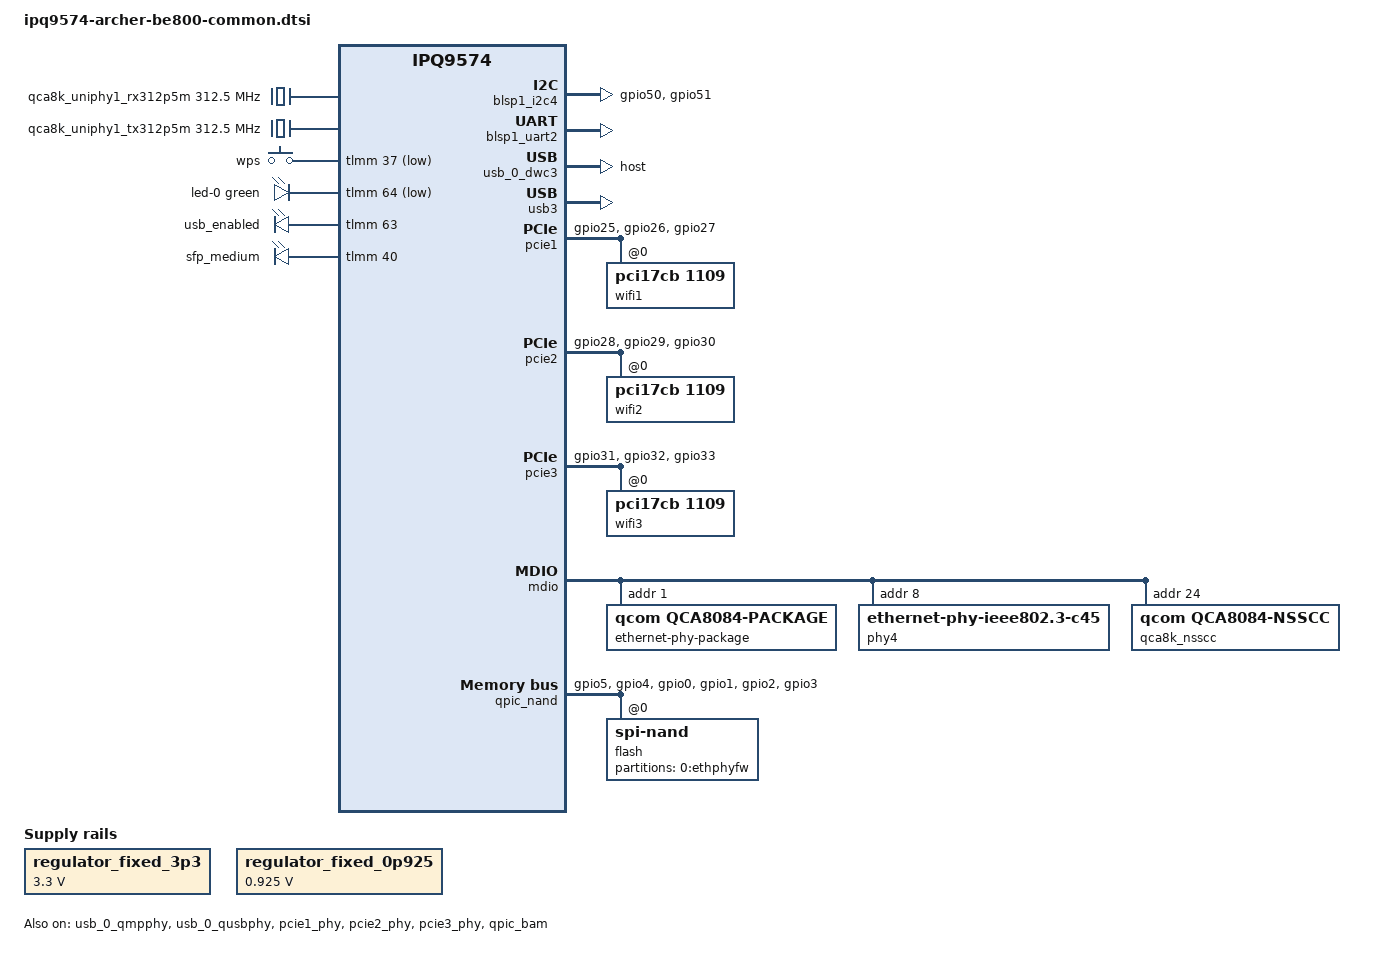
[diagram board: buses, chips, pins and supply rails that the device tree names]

// SPDX-License-Identifier: (GPL-2.0+ OR BSD-3-Clause)
/*
 * IPQ9574 RDP board common device tree source
 *
 * Copyright (c) 2020-2021 The Linux Foundation. All rights reserved.
 * Copyright (c) 2023-2024, Qualcomm Innovation Center, Inc. All rights reserved.
 */

/dts-v1/;

#include <dt-bindings/gpio/gpio.h>
#include <dt-bindings/input/input.h>
#include <dt-bindings/leds/common.h>
#include "ipq9574.dtsi"

#include <dt-bindings/clock/qcom,qca8k-nsscc.h>
#include <dt-bindings/net/qcom,qca808x.h>
#include <dt-bindings/reset/qcom,qca8k-nsscc.h>

/ {
	aliases {
		serial0 = &blsp1_uart2;
	};

	chosen {
		stdout-path = "serial0:115200n8";
		bootargs-append = " root=ubiblock0_1";
	};

	reserved-memory {
		tzapp:tzapp@49B00000 {  /* TZAPPS */
			no-map;
			reg = <0x0 0x49B00000 0x0 0x00600000>;
		};
	};

	clocks {
		qca8k_uniphy1_rx312p5m: qca8k-uniphy1-rx312p5m {
			compatible = "fixed-clock";
			clock-frequency = <312500000>;
			#clock-cells = <0>;
		};

		qca8k_uniphy1_tx312p5m: qca8k-uniphy1-tx312p5m {
			compatible = "fixed-clock";
			clock-frequency = <312500000>;
			#clock-cells = <0>;
		};
	};

	regulator_fixed_3p3: s3300 {
		compatible = "regulator-fixed";
		regulator-min-microvolt = <3300000>;
		regulator-max-microvolt = <3300000>;
		regulator-boot-on;
		regulator-always-on;
		regulator-name = "fixed_3p3";
	};

	regulator_fixed_0p925: s0925 {
		compatible = "regulator-fixed";
		regulator-min-microvolt = <925000>;
		regulator-max-microvolt = <925000>;
		regulator-boot-on;
		regulator-always-on;
		regulator-name = "fixed_0p925";
	};

	gpio-keys {
		compatible = "gpio-keys";
		pinctrl-0 = <&gpio_keys_default>;
		pinctrl-names = "default";

		button-wps {
			label = "wps";
			linux,code = <KEY_WPS_BUTTON>;
			gpios = <&tlmm 37 GPIO_ACTIVE_LOW>;
			debounce-interval = <60>;
		};
	};

	leds {
		compatible = "gpio-leds";
		pinctrl-0 = <&gpio_leds_default>;
		pinctrl-names = "default";

		led-0 {
			color = <LED_COLOR_ID_GREEN>;
			function = LED_FUNCTION_WLAN;
			gpios = <&tlmm 64 GPIO_ACTIVE_LOW>;
			linux,default-trigger = "phy0tx";
			default-state = "off";
		};

		usb_enabled {
			gpios = <&tlmm 63 GPIO_ACTIVE_HIGH>;
			default-state = "on";
		};

		sfp_medium: sfp_medium {
			gpios = <&tlmm 40 GPIO_ACTIVE_HIGH>;
			default-state = "on";
		};
	};

	sfp0: sfp-0 {
		status = "disabled";
		compatible = "sff,sfp";
		pinctrl-0 = <&sfp0_default>;
		pinctrl-names = "default";
		i2c-bus = <&blsp1_i2c4>;
		los-gpios = <&tlmm 46 GPIO_ACTIVE_HIGH>;
	};
};

&blsp1_i2c4 {
	pinctrl-0 = <&i2c4_default>;
	pinctrl-names = "default";
	status = "okay";
};

&blsp1_uart2 {
	pinctrl-0 = <&uart2_pins>;
	pinctrl-names = "default";
	status = "okay";
};

&rpm_requests {
	regulators {
		compatible = "qcom,rpm-mp5496-regulators";

		ipq9574_s1: s1 {
		/*
		 * During kernel bootup, the SoC runs at 800MHz with 875mV set by the bootloaders.
		 * During regulator registration, kernel not knowing the initial voltage,
		 * considers it as zero and brings up the regulators with minimum supported voltage.
		 * Update the regulator-min-microvolt with SVS voltage of 725mV so that
		 * the regulators are brought up with 725mV which is sufficient for all the
		 * corner parts to operate at 800MHz
		 */
			regulator-min-microvolt = <587500>;
			regulator-max-microvolt = <1075000>;
		};
		
		mp5496_l2: l2 {
			regulator-min-microvolt = <850000>;
			regulator-max-microvolt = <850000>;
			regulator-always-on;
			regulator-boot-on;
		};

		mp5496_l5: l5 {
			regulator-min-microvolt = <1800000>;
			regulator-max-microvolt = <1800000>;
			regulator-always-on;
			regulator-boot-on;
		};
	};
};

&sleep_clk {
	clock-frequency = <32000>;
};

&tlmm {
	spi_0_pins: spi-0-state {
		pins = "gpio11", "gpio12", "gpio13", "gpio14";
		function = "blsp0_spi";
		drive-strength = <8>;
		bias-disable;
	};

	gpio_keys_default: gpio-keys-default-state {
		pins = "gpio37";
		function = "gpio";
		drive-strength = <8>;
		bias-pull-up;
	};

	gpio_leds_default: gpio-leds-default-state {
		pins = "gpio64", "gpio63", "gpio40";
		function = "gpio";
		drive-strength = <8>;
		bias-pull-up;
	};

	qpic_snand_default_state: qpic-snand-default-state {
		clock-pins {
			pins = "gpio5";
			function = "qspi_clk";
			drive-strength = <8>;
			bias-disable;
		};

		cs-pins {
			pins = "gpio4";
			function = "qspi_cs";
			drive-strength = <8>;
			bias-disable;
		};

		data-pins {
			pins = "gpio0", "gpio1", "gpio2", "gpio3";
			function = "qspi_data";
			drive-strength = <8>;
			bias-disable;
		};
	};
	i2c4_default: i2c4-default-state {
		pins = "gpio50", "gpio51";
		function = "blsp4_i2c";
		drive-strength = <8>;
		bias-pull-up;
	};

	sfp0_default: sfp0-default-state {
		pins = "gpio46", "gpio45";
		function = "gpio";
		drive-strength = <8>;
		bias-pull-down;
	};
};

&usb_0_dwc3 {
	dr_mode = "host";
};

&usb_0_qmpphy {
	/*vdda-pll-supply = <&mp5496_l5>;*/
	vdda-phy-supply = <&regulator_fixed_0p925>;

	status = "okay";
};

&usb_0_qusbphy {
	vdd-supply = <&regulator_fixed_0p925>;
	/*vdda-pll-supply = <&mp5496_l5>;*/
	vdda-phy-dpdm-supply = <&regulator_fixed_3p3>;

	status = "okay";
};

&usb3 {
	status = "okay";
};

/*
 * The bootstrap pins for the board select the XO clock frequency
 * (48 MHZ or 96 MHZ used for different RDP type board). This setting
 * automatically enables the right dividers, to ensure the reference
 * clock output from WiFi to the CMN PLL is 48 MHZ.
 */
&ref_48mhz_clk {
	clock-div = <1>;
	clock-mult = <1>;
};

/*
 * The frequency of xo_board_clk is fixed to 24 MHZ, which is routed
 * from WiFi output clock 48 MHZ divided by 2.
 */
&xo_board_clk {
	clock-div = <2>;
	clock-mult = <1>;
};

&xo_clk {
	clock-frequency = <48000000>;
};

&pcie1_phy {
	status = "okay";
};

&pcie1 {
	pinctrl-0 = <&pcie1_default>;
	pinctrl-names = "default";

	perst-gpios = <&tlmm 26 GPIO_ACTIVE_LOW>;
	wake-gpios = <&tlmm 27 GPIO_ACTIVE_LOW>;
	status = "okay";

	pcie@0,0 { /* PCIe bridge/root */
        #address-cells = <3>;
        #size-cells    = <2>;
        reg = <0 0 0 0 0>;

        wifi1: pcie@0 {
            compatible = "pci17cb,1109";

            reg = <0 0 0 0 0>;

            qcom,board_id = <0x01>;
        };
    };
};

&pcie2_phy {
	status = "okay";
};

&pcie2 {
	pinctrl-0 = <&pcie2_default>;
	pinctrl-names = "default";

	perst-gpios = <&tlmm 29 GPIO_ACTIVE_LOW>;
	wake-gpios = <&tlmm 30 GPIO_ACTIVE_LOW>;
	status = "okay";

	pcie@0,0 { /* PCIe bridge/root */
        #address-cells = <3>;
        #size-cells    = <2>;
        reg = <0 0 0 0 0>;

        wifi2: pcie@0 {
            compatible = "pci17cb,1109";

            reg = <0 0 0 0 0>;

            qcom,board_id = <0x04>;
        };
    };
};

&pcie3_phy {
	status = "okay";
};

&pcie3 {
	pinctrl-0 = <&pcie3_default>;
	pinctrl-names = "default";

	perst-gpios = <&tlmm 32 GPIO_ACTIVE_LOW>;
	wake-gpios = <&tlmm 33 GPIO_ACTIVE_LOW>;
	status = "okay";

	pcie@0,0 { /* PCIe bridge/root */
        #address-cells = <3>;
        #size-cells    = <2>;
        reg = <0 0 0 0 0>;

        wifi3: pcie@0 {
            compatible = "pci17cb,1109";

            reg = <0 0 0 0 0>;

            qcom,board_id = <0x02>;
        };
    };
};

&mdio {
	phy-reset-gpio = <&tlmm 60 GPIO_ACTIVE_LOW>;
	clock-frequency = <6250000>;
	status = "okay";

	ethernet-phy-package@1 {
		#address-cells = <1>;
		#size-cells = <0>;
		compatible = "qcom,qca8084-package";
		reg = <1>;
		clocks = <&qca8k_nsscc NSS_CC_APB_BRIDGE_CLK>,
					<&qca8k_nsscc NSS_CC_AHB_CLK>,
					<&qca8k_nsscc NSS_CC_SEC_CTRL_AHB_CLK>,
					<&qca8k_nsscc NSS_CC_TLMM_CLK>,
					<&qca8k_nsscc NSS_CC_TLMM_AHB_CLK>,
					<&qca8k_nsscc NSS_CC_CNOC_AHB_CLK>,
					<&qca8k_nsscc NSS_CC_MDIO_AHB_CLK>;
		clock-names = "apb_bridge",
						"ahb",
						"sec_ctrl_ahb",
						"tlmm",
						"tlmm_ahb",
						"cnoc_ahb",
						"mdio_ahb";
		qcom,package-mode = <QCA808X_PCS1_10G_QXGMII_PCS0_UNUNSED>;
		resets = <&qca8k_nsscc NSS_CC_GEPHY_FULL_ARES>;
		qcom,phy-addr-fixup = <1 2 3 4 5 6 7>;

	    phy0: ethernet-phy@1 {
			compatible = "ethernet-phy-id004d.d180";
			reg = <1>;
			clocks = <&qca8k_nsscc NSS_CC_GEPHY0_SYS_CLK>;
			resets = <&qca8k_nsscc NSS_CC_GEPHY0_SYS_ARES>;
			qcom,xpcs-channel = <0>;
		};

	    phy1: ethernet-phy@2 {
			compatible = "ethernet-phy-id004d.d180";
			reg = <2>;
			clocks = <&qca8k_nsscc NSS_CC_GEPHY1_SYS_CLK>;
			resets = <&qca8k_nsscc NSS_CC_GEPHY1_SYS_ARES>;
			qcom,xpcs-channel = <1>;
		};

	    phy2: ethernet-phy@3 {
			compatible = "ethernet-phy-id004d.d180";
			reg = <3>;
			clocks = <&qca8k_nsscc NSS_CC_GEPHY2_SYS_CLK>;
			resets = <&qca8k_nsscc NSS_CC_GEPHY2_SYS_ARES>;
			qcom,xpcs-channel = <2>;
		};

	    phy3: ethernet-phy@4 {
			compatible = "ethernet-phy-id004d.d180";
			reg = <4>;
			clocks = <&qca8k_nsscc NSS_CC_GEPHY3_SYS_CLK>;
			resets = <&qca8k_nsscc NSS_CC_GEPHY3_SYS_ARES>;
			qcom,xpcs-channel = <3>;
		};

		pcs-phy@6 {
			compatible = "qcom,qca8k-pcs-phy";
			reg = <6>;
			clocks = <&qca8k_nsscc NSS_CC_SRDS1_SYS_CLK>,
						<&qca8k_uniphy1_tx312p5m>,
						<&qca8k_uniphy1_rx312p5m>;
			clock-names = "pcs", "pcs_rx_root", "pcs_tx_root";
			resets = <&qca8k_nsscc NSS_CC_SRDS1_SYS_ARES>;
		};

		xpcs-phy@7 {
			compatible = "qcom,qca8k-xpcs-phy";
			reg = <7>;
			#address-cells = <1>;
			#size-cells = <0>;
			resets = <&qca8k_nsscc NSS_CC_XPCS_ARES>;

			channel@0 {
				reg = <0>;
				clocks = <&qca8k_nsscc NSS_CC_MAC1_SRDS1_CH0_XGMII_TX_CLK>,
							<&qca8k_nsscc NSS_CC_MAC1_SRDS1_CH0_XGMII_RX_CLK>,
							<&qca8k_nsscc NSS_CC_MAC1_SRDS1_CH0_TX_CLK>,
							<&qca8k_nsscc NSS_CC_MAC1_SRDS1_CH0_RX_CLK>,
							<&qca8k_nsscc NSS_CC_MAC1_GEPHY0_RX_CLK>,
							<&qca8k_nsscc NSS_CC_MAC1_GEPHY0_TX_CLK>,
							<&qca8k_nsscc NSS_CC_MAC1_RX_CLK_SRC>,
							<&qca8k_nsscc NSS_CC_MAC1_TX_CLK_SRC>;
				clock-names = "xgmii_rx",
								"xgmii_tx",
								"xpcs_rx",
								"xpcs_tx",
								"port_rx",
								"port_tx",
								"rx_src",
								"tx_src";
				resets = <&qca8k_nsscc NSS_CC_MAC1_SRDS1_CH0_XGMII_TX_ARES>,
							<&qca8k_nsscc NSS_CC_MAC1_SRDS1_CH0_XGMII_RX_ARES>,
							<&qca8k_nsscc NSS_CC_MAC1_SRDS1_CH0_TX_ARES>,
							<&qca8k_nsscc NSS_CC_MAC1_SRDS1_CH0_RX_ARES>,
							<&qca8k_nsscc NSS_CC_MAC1_GEPHY0_RX_ARES>,
							<&qca8k_nsscc NSS_CC_MAC1_GEPHY0_TX_ARES>;
				reset-names = "xgmii_rx",
								"xgmii_tx",
								"xpcs_rx",
								"xpcs_tx",
								"port_rx",
								"port_tx";
			};

			channel@1 {
				reg = <1>;
				clocks = <&qca8k_nsscc NSS_CC_MAC2_SRDS1_CH1_XGMII_TX_CLK>,
							<&qca8k_nsscc NSS_CC_MAC2_SRDS1_CH1_XGMII_RX_CLK>,
							<&qca8k_nsscc NSS_CC_MAC2_SRDS1_CH1_TX_CLK>,
							<&qca8k_nsscc NSS_CC_MAC2_SRDS1_CH1_RX_CLK>,
							<&qca8k_nsscc NSS_CC_MAC2_GEPHY1_RX_CLK>,
							<&qca8k_nsscc NSS_CC_MAC2_GEPHY1_TX_CLK>,
							<&qca8k_nsscc NSS_CC_MAC2_RX_CLK_SRC>,
							<&qca8k_nsscc NSS_CC_MAC2_TX_CLK_SRC>;
				clock-names = "xgmii_rx",
								"xgmii_tx",
								"xpcs_rx",
								"xpcs_tx",
								"port_rx",
								"port_tx",
								"rx_src",
								"tx_src";
				resets = <&qca8k_nsscc NSS_CC_MAC2_SRDS1_CH1_XGMII_TX_ARES>,
							<&qca8k_nsscc NSS_CC_MAC2_SRDS1_CH1_XGMII_RX_ARES>,
							<&qca8k_nsscc NSS_CC_MAC2_SRDS1_CH1_TX_ARES>,
							<&qca8k_nsscc NSS_CC_MAC2_SRDS1_CH1_RX_ARES>,
							<&qca8k_nsscc NSS_CC_MAC2_GEPHY1_RX_ARES>,
							<&qca8k_nsscc NSS_CC_MAC2_GEPHY1_TX_ARES>;
				reset-names = "xgmii_rx",
								"xgmii_tx",
								"xpcs_rx",
								"xpcs_tx",
								"port_rx",
								"port_tx";
			};

			channel@2 {
				reg = <2>;
				clocks = <&qca8k_nsscc NSS_CC_MAC3_SRDS1_CH2_XGMII_TX_CLK>,
							<&qca8k_nsscc NSS_CC_MAC3_SRDS1_CH2_XGMII_RX_CLK>,
							<&qca8k_nsscc NSS_CC_MAC3_SRDS1_CH2_TX_CLK>,
							<&qca8k_nsscc NSS_CC_MAC3_SRDS1_CH2_RX_CLK>,
							<&qca8k_nsscc NSS_CC_MAC3_GEPHY2_RX_CLK>,
							<&qca8k_nsscc NSS_CC_MAC3_GEPHY2_TX_CLK>,
							<&qca8k_nsscc NSS_CC_MAC3_RX_CLK_SRC>,
							<&qca8k_nsscc NSS_CC_MAC3_TX_CLK_SRC>;
				clock-names = "xgmii_rx",
								"xgmii_tx",
								"xpcs_rx",
								"xpcs_tx",
								"port_rx",
								"port_tx",
								"rx_src",
								"tx_src";
				resets = <&qca8k_nsscc NSS_CC_MAC3_SRDS1_CH2_XGMII_TX_ARES>,
							<&qca8k_nsscc NSS_CC_MAC3_SRDS1_CH2_XGMII_RX_ARES>,
							<&qca8k_nsscc NSS_CC_MAC3_SRDS1_CH2_TX_ARES>,
							<&qca8k_nsscc NSS_CC_MAC3_SRDS1_CH2_RX_ARES>,
							<&qca8k_nsscc NSS_CC_MAC3_GEPHY2_RX_ARES>,
							<&qca8k_nsscc NSS_CC_MAC3_GEPHY2_TX_ARES>;
				reset-names = "xgmii_rx",
								"xgmii_tx",
								"xpcs_rx",
								"xpcs_tx",
								"port_rx",
								"port_tx";
			};

			channel@3 {
				reg = <3>;
				clocks = <&qca8k_nsscc NSS_CC_MAC4_SRDS1_CH3_XGMII_TX_CLK>,
							<&qca8k_nsscc NSS_CC_MAC4_SRDS1_CH3_XGMII_RX_CLK>,
							<&qca8k_nsscc NSS_CC_MAC4_SRDS1_CH3_TX_CLK>,
							<&qca8k_nsscc NSS_CC_MAC4_SRDS1_CH3_RX_CLK>,
							<&qca8k_nsscc NSS_CC_MAC4_GEPHY3_RX_CLK>,
							<&qca8k_nsscc NSS_CC_MAC4_GEPHY3_TX_CLK>,
							<&qca8k_nsscc NSS_CC_MAC4_RX_CLK_SRC>,
							<&qca8k_nsscc NSS_CC_MAC4_TX_CLK_SRC>;
				clock-names = "xgmii_rx",
								"xgmii_tx",
								"xpcs_rx",
								"xpcs_tx",
								"port_rx",
								"port_tx",
								"rx_src",
								"tx_src";
				resets = <&qca8k_nsscc NSS_CC_MAC4_SRDS1_CH3_XGMII_TX_ARES>,
							<&qca8k_nsscc NSS_CC_MAC4_SRDS1_CH3_XGMII_RX_ARES>,
							<&qca8k_nsscc NSS_CC_MAC4_SRDS1_CH3_TX_ARES>,
							<&qca8k_nsscc NSS_CC_MAC4_SRDS1_CH3_RX_ARES>,
							<&qca8k_nsscc NSS_CC_MAC4_GEPHY3_RX_ARES>,
							<&qca8k_nsscc NSS_CC_MAC4_GEPHY3_TX_ARES>;
				reset-names = "xgmii_rx",
								"xgmii_tx",
								"xpcs_rx",
								"xpcs_tx",
								"port_rx",
								"port_tx";
			};
		};
	};

	phy4: ethernet-phy@8 {
		compatible ="ethernet-phy-ieee802.3-c45";
		reg = <8>;

		nvmem-cells = <&aqr_fw>;
		nvmem-cell-names = "firmware";
	};

	phy5: ethernet-phy@0 {
		compatible ="ethernet-phy-ieee802.3-c45";
		reg = <0>;

		nvmem-cells = <&aqr_fw>;
		nvmem-cell-names = "firmware";
		status = "disabled";
	};

	qca8k_nsscc: qca8k-nsscc@18 {
		compatible = "qcom,qca8084-nsscc";
		reg = <0x18>;
		#clock-cells = <1>;
		#reset-cells = <1>;
		clocks = <&cmn_pll ETH0_50MHZ_CLK>,
			 <0>,
			 <0>,
			 <0>,
			 <0>,
			 <&qca8k_uniphy1_rx312p5m>,
			 <&qca8k_uniphy1_tx312p5m>;
	};
};

&tlmm {
	pcie1_default: pcie1-default-state {
		clkreq-n-pins {
			pins = "gpio25";
			function = "pcie1_clk";
			drive-strength = <6>;
			bias-pull-up;
		};

		perst-n-pins {
			pins = "gpio26";
			function = "gpio";
			drive-strength = <8>;
			bias-pull-down;
			output-low;
		};

		wake-n-pins {
			pins = "gpio27";
			function = "pcie1_wake";
			drive-strength = <6>;
			bias-pull-up;
		};
	};

	pcie2_default: pcie2-default-state {
		clkreq-n-pins {
			pins = "gpio28";
			function = "pcie2_clk";
			drive-strength = <6>;
			bias-pull-up;
		};

		perst-n-pins {
			pins = "gpio29";
			function = "gpio";
			drive-strength = <8>;
			bias-pull-down;
			output-low;
		};

		wake-n-pins {
			pins = "gpio30";
			function = "pcie2_wake";
			drive-strength = <6>;
			bias-pull-up;
		};
	};

	pcie3_default: pcie3-default-state {
		clkreq-n-pins {
			pins = "gpio31";
			function = "pcie3_clk";
			drive-strength = <6>;
			bias-pull-up;
		};

		perst-n-pins {
			pins = "gpio32";
			function = "gpio";
			drive-strength = <8>;
			bias-pull-up;
			output-low;
		};

		wake-n-pins {
			pins = "gpio33";
			function = "pcie3_wake";
			drive-strength = <6>;
			bias-pull-up;
		};
	};
	qpic_snand_default_state: qpic-snand-default-state {
		clock-pins {
			pins = "gpio5";
			function = "qspi_clk";
			drive-strength = <8>;
			bias-disable;
		};

		cs-pins {
			pins = "gpio4";
			function = "qspi_cs";
			drive-strength = <8>;
			bias-disable;
		};

		data-pins {
			pins = "gpio0", "gpio1", "gpio2", "gpio3";
			function = "qspi_data";
			drive-strength = <8>;
			bias-disable;
		};
	};
};

&qpic_bam {
	status = "okay";
};

&qpic_nand {
	pinctrl-0 = <&qpic_snand_default_state>;
	pinctrl-names = "default";
	status = "okay";

	flash@0 {
		reg = <0>;
		compatible = "spi-nand";
		#address-cells = <1>;
		#size-cells = <1>;
		nand-ecc-strength = <8>;
		nand-ecc-step-size = <512>;
		nand-bus-width = <0x08>;
		nand-ecc-engine = <&qpic_nand>;
		partitions {
			compatible = "qcom,smem-part";
			partition-0-ethphyfw {
				label = "0:ethphyfw";
				read-only;

				nvmem-layout {
					compatible = "fixed-layout";
					#address-cells = <1>;
					#size-cells = <1>;

					aqr_fw: aqr-fw@0 {
						reg = <0x28 0x60002>;
					};
				};
			};
		};
	};
};

&qcom_ppe {
	ethernet-ports {
		#address-cells = <1>;
		#size-cells = <0>;

		port@1 {
			reg = <1>;
			phy-mode = "10g-qxgmii";
			label = "lan1";
			phy-handle = <&phy0>;
			pcs-handle = <&pcs0_ch0>;
			clocks = <&nsscc NSS_CC_PORT1_MAC_CLK>,
				 <&nsscc NSS_CC_PORT1_RX_CLK>,
				 <&nsscc NSS_CC_PORT1_TX_CLK>;
			clock-names = "port_mac",
				      "port_rx",
				      "port_tx";
			resets = <&nsscc PORT1_MAC_ARES>,
				 <&nsscc PORT1_RX_ARES>,
				 <&nsscc PORT1_TX_ARES>;
			reset-names = "port_mac",
				      "port_rx",
				      "port_tx";
		};

		port@2 {
			reg = <2>;
			phy-mode = "10g-qxgmii";
			label = "lan2";
			phy-handle = <&phy1>;
			pcs-handle = <&pcs0_ch1>;
			clocks = <&nsscc NSS_CC_PORT2_MAC_CLK>,
				 <&nsscc NSS_CC_PORT2_RX_CLK>,
				 <&nsscc NSS_CC_PORT2_TX_CLK>;
			clock-names = "port_mac",
				      "port_rx",
				      "port_tx";
			resets = <&nsscc PORT2_MAC_ARES>,
				 <&nsscc PORT2_RX_ARES>,
				 <&nsscc PORT2_TX_ARES>;
			reset-names = "port_mac",
				      "port_rx",
				      "port_tx";
		};

		port@3 {
			reg = <3>;
			phy-mode = "10g-qxgmii";
			label = "lan3";
			phy-handle = <&phy2>;
			pcs-handle = <&pcs0_ch2>;
			clocks = <&nsscc NSS_CC_PORT3_MAC_CLK>,
				 <&nsscc NSS_CC_PORT3_RX_CLK>,
				 <&nsscc NSS_CC_PORT3_TX_CLK>;
			clock-names = "port_mac",
				      "port_rx",
				      "port_tx";
			resets = <&nsscc PORT3_MAC_ARES>,
				 <&nsscc PORT3_RX_ARES>,
				 <&nsscc PORT3_TX_ARES>;
			reset-names = "port_mac",
				      "port_rx",
				      "port_tx";
		};

		port@4 {
			reg = <4>;
			phy-mode = "10g-qxgmii";
			label = "lan4";
			phy-handle = <&phy3>;
			pcs-handle = <&pcs0_ch3>;
			clocks = <&nsscc NSS_CC_PORT4_MAC_CLK>,
				 <&nsscc NSS_CC_PORT4_RX_CLK>,
				 <&nsscc NSS_CC_PORT4_TX_CLK>;
			clock-names = "port_mac",
				      "port_rx",
				      "port_tx";
			resets = <&nsscc PORT4_MAC_ARES>,
				 <&nsscc PORT4_RX_ARES>,
				 <&nsscc PORT4_TX_ARES>;
			reset-names = "port_mac",
				      "port_rx",
				      "port_tx";
		};

		port@5 {
			reg = <5>;
			phy-mode = "usxgmii";
			managed = "in-band-status";
			label = "lan5";
			phy-handle = <&phy4>;
			pcs-handle = <&pcs1_ch0>;
			clocks = <&nsscc NSS_CC_PORT5_MAC_CLK>,
				 <&nsscc NSS_CC_PORT5_RX_CLK>,
				 <&nsscc NSS_CC_PORT5_TX_CLK>;
			clock-names = "port_mac",
				      "port_rx",
				      "port_tx";
			resets = <&nsscc PORT5_MAC_ARES>,
				 <&nsscc PORT5_RX_ARES>,
				 <&nsscc PORT5_TX_ARES>;
			reset-names = "port_mac",
				      "port_rx",
				      "port_tx";
		};

		xgmac6: port@6 {
			reg = <6>;
			phy-mode = "10gbase-r";
			managed = "in-band-status";
			label = "wan";
			sfp = <&sfp0>;
			pcs-handle = <&pcs2_ch0>;
			clocks = <&nsscc NSS_CC_PORT6_MAC_CLK>,
				 <&nsscc NSS_CC_PORT6_RX_CLK>,
				 <&nsscc NSS_CC_PORT6_TX_CLK>;
			clock-names = "port_mac",
				      "port_rx",
				      "port_tx";
			resets = <&nsscc PORT6_MAC_ARES>,
				 <&nsscc PORT6_RX_ARES>,
				 <&nsscc PORT6_TX_ARES>;
			reset-names = "port_mac",
				      "port_rx",
				      "port_tx";
		};
	};
};
